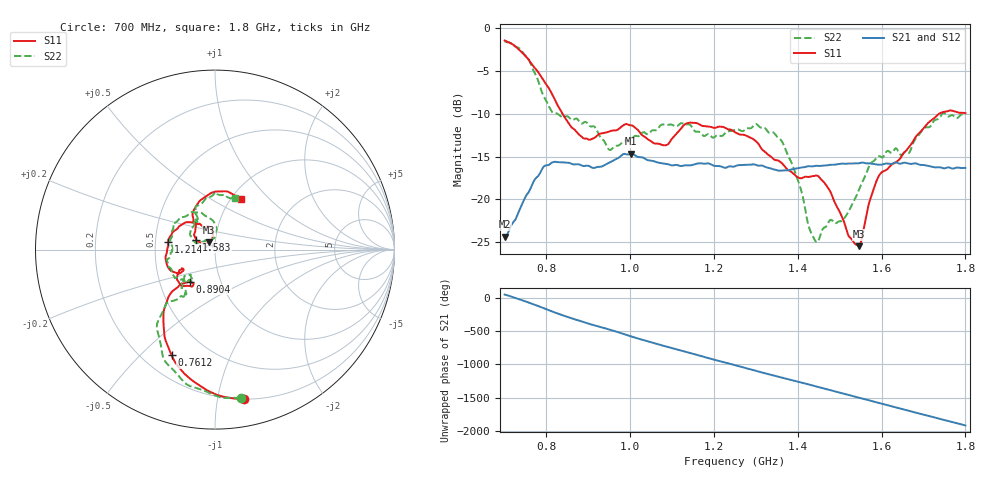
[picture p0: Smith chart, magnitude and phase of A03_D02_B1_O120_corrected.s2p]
! Created with skrf 1.9.0 (http://scikit-rf.org).
# Hz S RI R 50.0
!freq ReS11 ImS11 ReS21 ImS21 ReS12 ImS12 ReS22 ImS22
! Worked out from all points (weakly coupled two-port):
!   1601 points, 700 MHz to 1.8 GHz, reference 50 ohm
!   highest |S21| = -14.67 dB at 1.002 GHz (marker M1); lowest = -24.4 dB at 700.7 MHz (marker M2)
!   lowest |S11| = -25.5 dB at 1.546 GHz (marker M3), VSWR 1.11, Z = 46.5 + j3.75 ohm
!   |S11| at or under -10 dB: 838.4 MHz to 1.737 GHz (898.3 MHz wide, 69.8 % of centre)
!   |S22| runs from -25.0 to -1.5 dB; largest |S21 - S12| = 0.0035
!   S11 on the Smith chart (normalised r, x): 700 MHz: 0.20, -1.19; 761.2 MHz: 0.32, -0.62; 890.4 MHz: 0.71, -0.27; 1.214 GHz: 0.58, +0.05; 1.583 GHz: 0.81, +0.09; 1.8 GHz: 1.11, +0.70
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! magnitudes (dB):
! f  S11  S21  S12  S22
! 700 MHz  -1.4  -24.4  -24.2  -1.5
! 700.7 MHz  -1.4  -24.4  -24.1  -1.5
! 761.2 MHz  -3.9  -18.8  -18.7  -4.0
! 812.8 MHz  -7.6  -15.7  -15.7  -9.7
! 883.6 MHz  -12.7  -16.0  -15.9  -11.1
! 890.4 MHz  -12.9  -16.1  -16.1  -11.0
! 950.9 MHz  -12.0  -15.7  -15.7  -14.2
! 1.002 GHz  -11.3  -14.7  -14.8  -13.0
! 1.067 GHz  -13.5  -15.7  -15.7  -11.7
! 1.137 GHz  -11.1  -16.0  -16.0  -11.2
! 1.214 GHz  -11.5  -16.1  -16.1  -12.5
! 1.25 GHz  -12.2  -16.1  -16.1  -11.9
! 1.361 GHz  -15.7  -16.6  -16.7  -13.1
! 1.402 GHz  -17.5  -16.3  -16.3  -18.0
! 1.434 GHz  -17.3  -16.2  -16.1  -24.1
! 1.508 GHz  -22.4  -15.8  -15.8  -22.4
! 1.546 GHz  -25.5  -15.8  -15.7  -18.9
! 1.583 GHz  -18.5  -15.9  -15.9  -15.5
! 1.617 GHz  -16.3  -15.8  -15.8  -14.4
! 1.664 GHz  -14.0  -15.8  -15.8  -14.6
! 1.736 GHz  -10.0  -16.3  -16.3  -10.6
! 1.8 GHz  -9.9  -16.3  -16.3  -10.3
